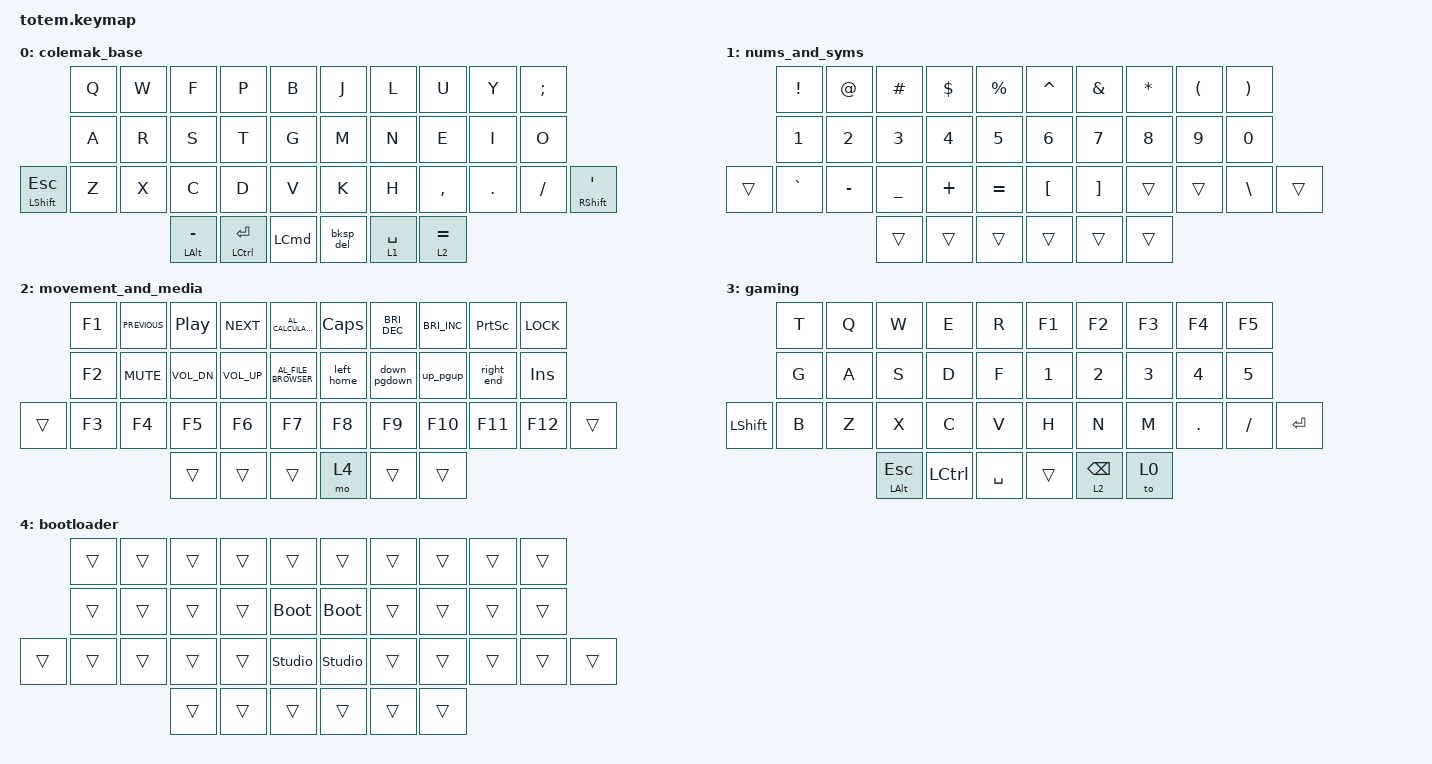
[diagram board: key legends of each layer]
//
//                                                        ▀▀▀▀▀     ▀▀▀▀▀          ▀▀█▀▀
//                                                        ▄▀▀▀▄  ▄  ▄▀▀▀▄  ▄  ▄▀▀▀▄  █  ▄▀▀▀▄
//                                                        █   █  █  █   █  █  █   █  █  █   █
//                                                         ▀▀▀   █   ▀▀▀   █   ▀▀▀   ▀   ▀▀▀
//                                                               █      ▄▄▄█▄▄▄    █   █  
//                                                               ▀      █  █  █     █▄█
//                                                             ▀▀▀▀▀    █  █  █      ▀
//                                                                      ▀  ▀  ▀
//
// ▄▄▄▄▄▄▄▄▄▄▄▄▄▄▄▄▄▄▄▄▄▄▄▄▄▄▄▄▄▄▄▄▄▄▄▄▄▄▄▄▄▄▄▄▄▄▄▄▄▄▄▄▄▄▄▄▄▄▄▄▄▄▄▄▄▄▄▄▄▄▄▄▄▄▄▄▄▄▄▄▄▄▄▄▄▄▄▄▄▄▄▄▄▄▄▄▄▄▄▄▄▄▄▄▄▄▄▄▄▄▄▄▄▄▄▄▄▄▄▄▄▄▄▄▄▄▄▄▄▄▄▄▄▄▄▄▄▄▄▄▄▄▄▄▄▄▄▄▄

#include <behaviors.dtsi>
#include <dt-bindings/zmk/keys.h>

#define BASE 0
#define NAV  1
#define SYM  2
#define ADJ  3

&mt {
    quick-tap-ms = <(-1)>;
    flavor = "hold-preferred";
    tapping-term-ms = <115>;
};

/ {
    combos {
        compatible = "zmk,combos";

        combo_bksp {
            bindings = <&kp BACKSPACE>;
            key-positions = <9 8>;
            timeout-ms = <50>;
            require-prior-idle-ms = <185>;
            layers = <1 2>;
        };

        combo_tab {
            bindings = <&kp TAB>;
            key-positions = <0 1>;
            timeout-ms = <55>;
            require-prior-idle-ms = <200>;
        };

        Grave {
            bindings = <&kp GRAVE>;
            key-positions = <0 11>;
        };

        Bootloader {
            bindings = <&bootloader>;
            key-positions = <20 34 35 31>;
        };

        colemak_toggle {
            bindings = <&tog 0>;
            key-positions = <20 32 37 31>;
            layers = <0>;
        };
    };

    behaviors {
        bksp_del: bksp_del {
            compatible = "zmk,behavior-mod-morph";
            label = "BKSP_DEL";
            bindings = <&kp BACKSPACE>, <&kp DELETE>;

            #binding-cells = <0>;
            mods = <(MOD_RSFT)>;
        };

        up_pgup: up_pgup {
            compatible = "zmk,behavior-mod-morph";
            label = "UP_PGUP";
            bindings = <&kp UP_ARROW>, <&kp PG_UP>;

            #binding-cells = <0>;
            mods = <(MOD_RSFT)>;
        };

        down_pgdown: down_pgdown {
            compatible = "zmk,behavior-mod-morph";
            label = "DOWN_PGDOWN";
            bindings = <&kp DOWN_ARROW>, <&kp PAGE_DOWN>;

            #binding-cells = <0>;
            mods = <(MOD_RSFT)>;
        };

        left_home: left_home {
            compatible = "zmk,behavior-mod-morph";
            label = "LEFT_HOME";
            bindings = <&kp LEFT_ARROW>, <&kp HOME>;

            #binding-cells = <0>;
            mods = <(MOD_RSFT)>;
        };

        right_end: right_end {
            compatible = "zmk,behavior-mod-morph";
            label = "RIGHT_END";
            bindings = <&kp RIGHT_ARROW>, <&kp END>;

            #binding-cells = <0>;
            mods = <(MOD_RSFT)>;
        };
    };

    keymap {
        compatible = "zmk,keymap";

        // ▄▄▄▄▄▄▄▄▄▄▄▄▄▄▄▄▄▄▄▄▄▄▄▄▄▄▄▄▄▄▄▄▄▄▄▄▄▄▄▄▄▄▄▄▄▄▄▄▄▄▄▄▄▄▄▄▄▄▄▄▄▄▄▄▄▄▄▄▄▄▄▄▄▄▄▄▄▄▄▄▄▄▄▄▄▄▄▄▄▄▄▄▄▄▄▄▄▄▄▄▄▄▄▄▄▄▄▄▄▄▄▄▄▄▄▄▄▄▄▄▄▄▄▄▄▄▄▄▄▄▄▄▄▄▄▄▄▄▄▄▄▄▄▄▄▄▄▄▄

        colemak_base {
            bindings = <
                    &kp Q  &kp W  &kp F               &kp P            &kp B               &kp J      &kp L        &kp U        &kp Y    &kp SEMI
                    &kp A  &kp R  &kp S               &kp T            &kp G               &kp M      &kp N        &kp E        &kp I    &kp O
&mt LEFT_SHIFT ESC  &kp Z  &kp X  &kp C               &kp D            &kp V               &kp K      &kp H        &kp COMMA    &kp DOT  &kp FSLH  &mt RIGHT_SHIFT APOSTROPHE
                                  &mt LEFT_ALT MINUS  &mt LCTRL ENTER  &kp LEFT_COMMAND    &bksp_del  &lt 1 SPACE  &lt 2 EQUAL
            >;
        };

        nums_and_syms {
            bindings = <
        &kp EXCLAMATION  &kp AT_SIGN  &kp HASH   &kp DOLLAR  &kp PERCENT    &kp CARET         &kp AMPERSAND      &kp ASTERISK  &kp LPAR  &kp RIGHT_PARENTHESIS
        &kp N1           &kp N2       &kp N3     &kp N4      &kp N5         &kp N6            &kp N7             &kp N8        &kp N9    &kp N0
&trans  &kp GRAVE        &kp MINUS    &kp UNDER  &kp PLUS    &kp EQUAL      &kp LEFT_BRACKET  &kp RIGHT_BRACKET  &trans        &trans    &kp BACKSLASH          &trans
                                      &trans     &trans      &trans         &trans            &trans             &trans
            >;
        };

        movement_and_media {
            bindings = <
        &kp F1  &kp C_PREVIOUS  &kp C_PP      &kp C_NEXT       &kp C_AL_CALCULATOR      &kp CAPSLOCK  &kp C_BRIGHTNESS_DEC  &kp C_BRIGHTNESS_INC  &kp PRINTSCREEN  &kp K_LOCK
        &kp F2  &kp K_MUTE      &kp C_VOL_DN  &kp C_VOLUME_UP  &kp C_AL_FILE_BROWSER    &left_home    &down_pgdown          &up_pgup              &right_end       &kp INSERT
&trans  &kp F3  &kp F4          &kp F5        &kp F6           &kp F7                   &kp F8        &kp F9                &kp F10               &kp F11          &kp F12     &trans
                                &trans        &trans           &trans                   &mo 4         &trans                &trans
            >;
        };

        gaming {
            bindings = <
           &kp T  &kp Q  &kp W                &kp E      &kp R        &kp F1        &kp F2           &kp F3        &kp F4        &kp F5
           &kp G  &kp A  &kp S                &kp D      &kp F        &kp NUMBER_1  &kp NUMBER_2     &kp NUMBER_3  &kp NUMBER_4  &kp N5
&kp LSHFT  &kp B  &kp Z  &kp X                &kp C      &kp V        &kp H         &kp N            &kp M         &kp DOT       &kp FSLH  &kp RET
                         &mt LEFT_ALT ESCAPE  &kp LCTRL  &kp SPACE    &trans        &lt 2 BACKSPACE  &to 0
            >;
        };

        bootloader {
            bindings = <
        &trans  &trans  &trans  &trans  &trans            &trans          &trans  &trans  &trans  &trans
        &trans  &trans  &trans  &trans  &bootloader       &bootloader     &trans  &trans  &trans  &trans
&trans  &trans  &trans  &trans  &trans  &studio_unlock    &studio_unlock  &trans  &trans  &trans  &trans  &trans
                        &trans  &trans  &trans            &trans          &trans  &trans
            >;
        };

        // ▄▄▄▄▄▄▄▄▄▄▄▄▄▄▄▄▄▄▄▄▄▄▄▄▄▄▄▄▄▄▄▄▄▄▄▄▄▄▄▄▄▄▄▄▄▄▄▄▄▄▄▄▄▄▄▄▄▄▄▄▄▄▄▄▄▄▄▄▄▄▄▄▄▄▄▄▄▄▄▄▄▄▄▄▄▄▄▄▄▄▄▄▄▄▄▄▄▄▄▄▄▄▄▄▄▄▄▄▄▄▄▄▄▄▄▄▄▄▄▄▄▄▄▄▄▄▄▄▄▄▄▄▄▄▄▄▄▄▄▄▄▄▄▄▄▄▄▄▄
        // ▄▄▄▄▄▄▄▄▄▄▄▄▄▄▄▄▄▄▄▄▄▄▄▄▄▄▄▄▄▄▄▄▄▄▄▄▄▄▄▄▄▄▄▄▄▄▄▄▄▄▄▄▄▄▄▄▄▄▄▄▄▄▄▄▄▄▄▄▄▄▄▄▄▄▄▄▄▄▄▄▄▄▄▄▄▄▄▄▄▄▄▄▄▄▄▄▄▄▄▄▄▄▄▄▄▄▄▄▄▄▄▄▄▄▄▄▄▄▄▄▄▄▄▄▄▄▄▄▄▄▄▄▄▄▄▄▄▄▄▄▄▄▄▄▄▄▄▄▄
        // ▄▄▄▄▄▄▄▄▄▄▄▄▄▄▄▄▄▄▄▄▄▄▄▄▄▄▄▄▄▄▄▄▄▄▄▄▄▄▄▄▄▄▄▄▄▄▄▄▄▄▄▄▄▄▄▄▄▄▄▄▄▄▄▄▄▄▄▄▄▄▄▄▄▄▄▄▄▄▄▄▄▄▄▄▄▄▄▄▄▄▄▄▄▄▄▄▄▄▄▄▄▄▄▄▄▄▄▄▄▄▄▄▄▄▄▄▄▄▄▄▄▄▄▄▄▄▄▄▄▄▄▄▄▄▄▄▄▄▄▄▄▄▄▄▄▄▄▄▄
    };
};
